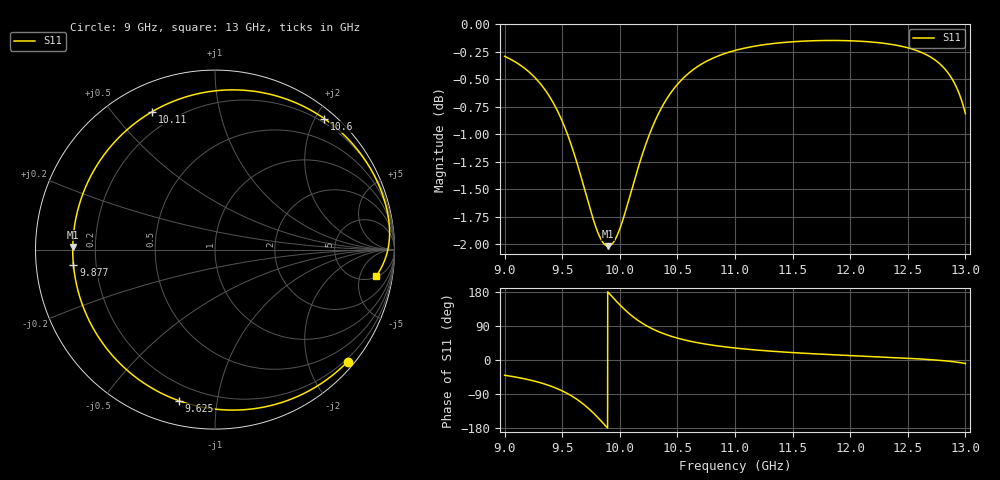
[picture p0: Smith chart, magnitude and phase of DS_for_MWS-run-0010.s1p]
! TOUCHSTONE file generated by CST DESIGN STUDIO
! Date and time: Tue Feb  4 17:26:17 2025
! Project name: C:\Work\MatlabApps\UnitCellOptimizationMatlab\CST\unitcell.cst
! Tree item: Tasks\Sweep1\SPara1\S-Parameters
! Header version: 2024
! Port assignment regex: !\s*Touchstone port\s*([0-9]+)\s*=\s*(CST MWS port|CST DES external port|CST DES block port)\s*(.+)\s* \(\"(.*)\"\)(\s*mode\s*([0-9]+))?.*
! Touchstone port assignment:
! Touchstone port 1 = CST DES external port 1 ("")
# GHz S MA R 50
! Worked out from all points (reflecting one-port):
!   4001 points, 9 GHz to 13 GHz, reference 50 ohm
!   lowest |S11| = -2.0 dB at 9.898 GHz (marker M1), VSWR 8.65, Z = 5.78 + j0.456 ohm
!   phase of S11 starts at -40 deg and turns -329 deg over the sweep
!   S11 on the Smith chart (normalised r, x): 9 GHz: 0.14, -2.72; 9.625 GHz: 0.12, -0.78; 9.877 GHz: 0.12, -0.05; 10.11 GHz: 0.12, +0.64; 10.6 GHz: 0.14, +2.13; 13 GHz: 5, -9
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9  0.967 -40.2
9.147  0.9572 -48.0
9.28  0.9437 -57.4
9.395  0.9262 -68.3
9.5  0.9035 -81.5
9.567  0.8849 -92.2
9.625  0.866 -103.3
9.688  0.8436 -117.5
9.747  0.8227 -133.1
9.817  0.8024 -154.2
9.877  0.7934 -174.0
9.898  0.7927 178.9
9.947  0.7963 162.6
10  0.8073 145.6
10.057  0.8247 129.0
10.114  0.8447 114.4
10.184  0.8688 99.2
10.264  0.893 85.1
10.377  0.9192 69.9
10.5  0.939 57.8
10.603  0.9505 50.1
10.78  0.9636 40.2
11  0.973 31.7
11.5  0.9818 19.6
12  0.9829 11.7
12.5  0.9757 4.6
12.791  0.958 -1.3
13  0.9107 -9.3
